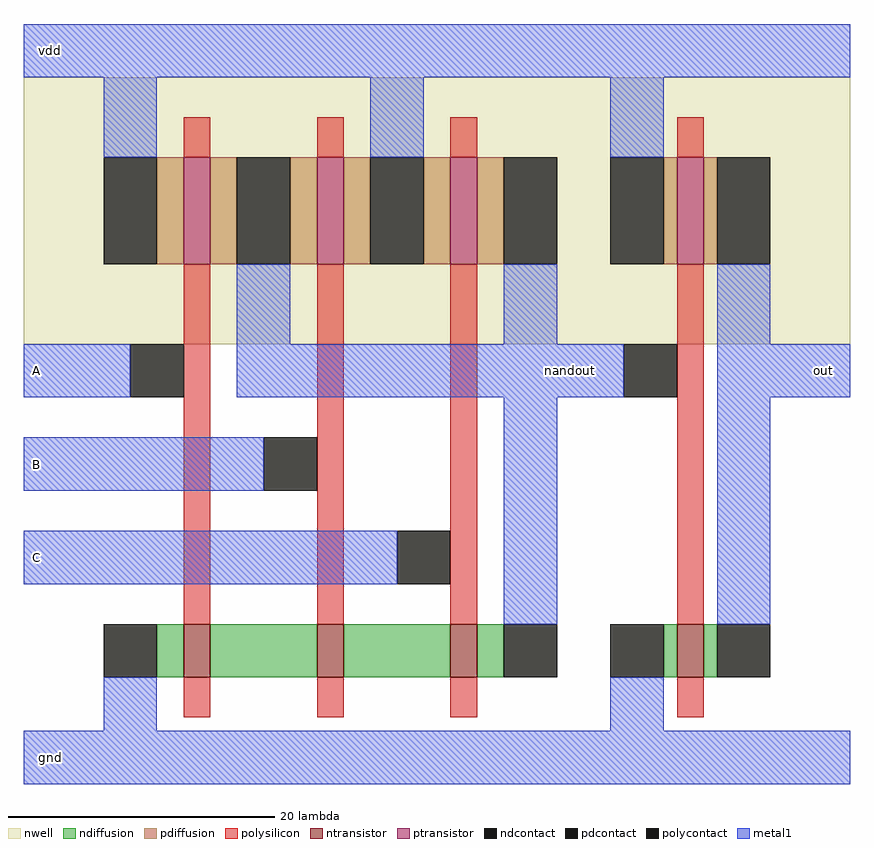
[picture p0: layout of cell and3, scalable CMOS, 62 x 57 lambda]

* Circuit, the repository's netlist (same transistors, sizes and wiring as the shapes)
* SPICE3 file created from and3.ext - technology: scmos

.option scale=0.09u

M1000 out nandout vdd w_0_0# pfet w=8 l=2
+  ad=40 pd=26 as=152 ps=86
M1001 nandout C a_24_n25# Gnd nfet w=4 l=2
+  ad=24 pd=20 as=32 ps=24
M1002 vdd B nandout w_0_0# pfet w=8 l=2
+  ad=0 pd=0 as=112 ps=60
M1003 a_24_n25# B a_14_n25# Gnd nfet w=4 l=2
+  ad=0 pd=0 as=32 ps=24
M1004 a_14_n25# A gnd Gnd nfet w=4 l=2
+  ad=0 pd=0 as=44 ps=38
M1005 nandout A vdd w_0_0# pfet w=8 l=2
+  ad=0 pd=0 as=0 ps=0
M1006 nandout C vdd w_0_0# pfet w=8 l=2
+  ad=0 pd=0 as=0 ps=0
M1007 out nandout gnd Gnd nfet w=4 l=2
+  ad=20 pd=18 as=0 ps=0

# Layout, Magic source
magic
tech scmos
<< nwell >>
rect 0 0 62 20
<< ntransistor >>
rect 12 -25 14 -21
rect 22 -25 24 -21
rect 32 -25 34 -21
rect 49 -25 51 -21
<< ptransistor >>
rect 12 6 14 14
rect 22 6 24 14
rect 32 6 34 14
rect 49 6 51 14
<< ndiffusion >>
rect 10 -25 12 -21
rect 14 -25 22 -21
rect 24 -25 32 -21
rect 34 -25 36 -21
rect 48 -25 49 -21
rect 51 -25 52 -21
<< pdiffusion >>
rect 10 6 12 14
rect 14 6 16 14
rect 20 6 22 14
rect 24 6 26 14
rect 30 6 32 14
rect 34 6 36 14
rect 48 6 49 14
rect 51 6 52 14
<< ndcontact >>
rect 6 -25 10 -21
rect 36 -25 40 -21
rect 44 -25 48 -21
rect 52 -25 56 -21
<< pdcontact >>
rect 6 6 10 14
rect 16 6 20 14
rect 26 6 30 14
rect 36 6 40 14
rect 44 6 48 14
rect 52 6 56 14
<< polysilicon >>
rect 12 14 14 17
rect 22 14 24 17
rect 32 14 34 17
rect 49 14 51 17
rect 12 -21 14 6
rect 22 -21 24 6
rect 32 -21 34 6
rect 49 -21 51 6
rect 12 -28 14 -25
rect 22 -28 24 -25
rect 32 -28 34 -25
rect 49 -28 51 -25
<< polycontact >>
rect 8 -4 12 0
rect 18 -11 22 -7
rect 28 -18 32 -14
rect 45 -4 49 0
<< metal1 >>
rect 0 20 62 24
rect 6 14 10 20
rect 26 14 30 20
rect 44 14 48 20
rect 16 0 20 6
rect 36 0 40 6
rect 52 0 56 6
rect 0 -4 8 0
rect 16 -4 45 0
rect 52 -4 62 0
rect 0 -11 18 -7
rect 0 -18 28 -14
rect 36 -21 40 -4
rect 52 -21 56 -4
rect 6 -29 10 -25
rect 44 -29 48 -25
rect 0 -33 62 -29
<< labels >>
rlabel metal1 1 -2 1 -2 3 A
rlabel metal1 1 -9 1 -9 3 B
rlabel metal1 2 22 2 22 4 vdd
rlabel metal1 2 -31 2 -31 2 gnd
rlabel metal1 60 -2 60 -2 7 out
rlabel metal1 41 -2 41 -2 1 nandout
rlabel metal1 1 -16 1 -16 3 C
<< end >>
